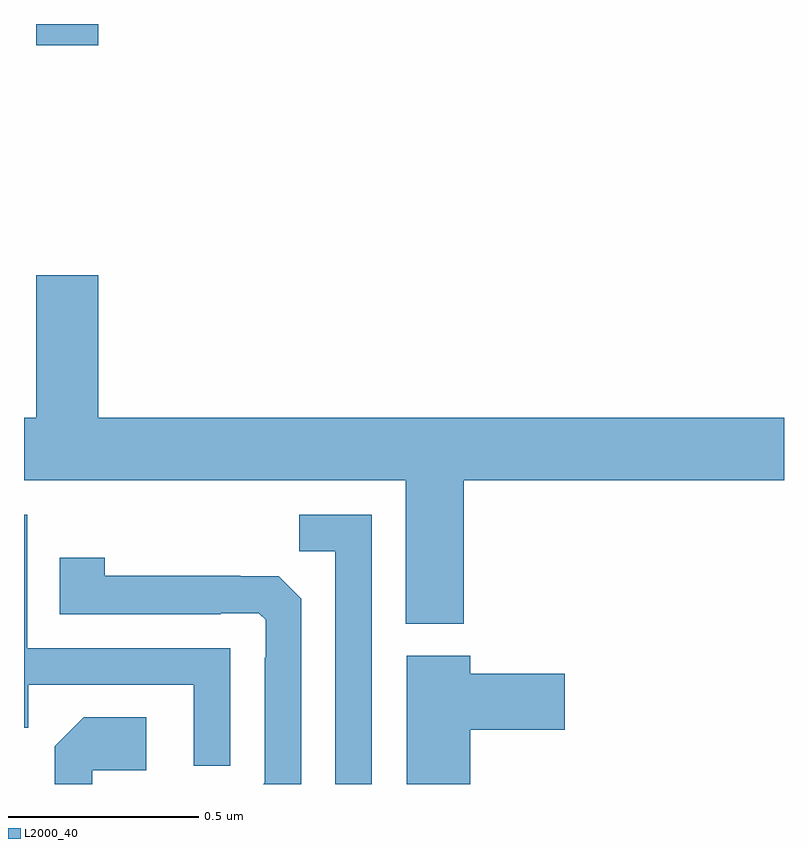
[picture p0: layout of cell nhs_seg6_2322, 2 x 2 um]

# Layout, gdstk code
import gdstk
lib = gdstk.Library(unit=1e-6, precision=1e-09)
def R(c, l, rs):  # rectangles x0, y0, x1, y1
    for r in rs: c.add(gdstk.rectangle(r[:2], r[2:], *l))
def P(c, l, *ps):  # polygons
    for p in ps: c.add(gdstk.Polygon(p, *l))
L2000_40 = (2000, 40)

nhs_seg6_2322 = lib.new_cell('nhs_seg6_2322')
R(nhs_seg6_2322, L2000_40, [(141.032,984.444,141.196,984.5)])
P(nhs_seg6_2322, L2000_40, [(142.157,983.3),(143,983.3),(143,983.464),(141.196,983.464),(141.196,983.839),(141.032,983.839),(141.032,983.464),(141,983.464),(141,983.3),(142.004,983.3),(142.004,982.922),(142.157,982.922)],
  [(141.915,983.208),(141.724,983.208),(141.724,983.113),(141.819,983.113),(141.819,982.5),(141.915,982.5)],
  [(141.543,982.857),(141.009,982.857),(141.009,983.208),(141,983.208),(141,982.648),(141.011,982.648),(141.011,982.761),(141.447,982.761),(141.447,982.548),(141.543,982.548)],
  [(141.729,982.988),(141.67,983.047),(141.569,983.047),(141.569,983.048),(141.213,983.048),(141.213,983.095),(141.094,983.095),(141.094,982.947),(141.518,982.947),(141.518,982.95),(141.618,982.95),(141.636,982.932),(141.636,982.832),(141.633,982.832),(141.633,982.503),(141.63,982.5),(141.729,982.5)],
  [(142.174,982.643),(142.423,982.643),(142.423,982.79),(142.174,982.79),(142.174,982.837),(142.007,982.837),(142.007,982.5),(142.174,982.5)],
  [(141.18,982.536),(141.322,982.536),(141.322,982.676),(141.157,982.676),(141.081,982.6),(141.081,982.5),(141.18,982.5)])

lib.write_gds('nhs_seg6_2322.gds')
